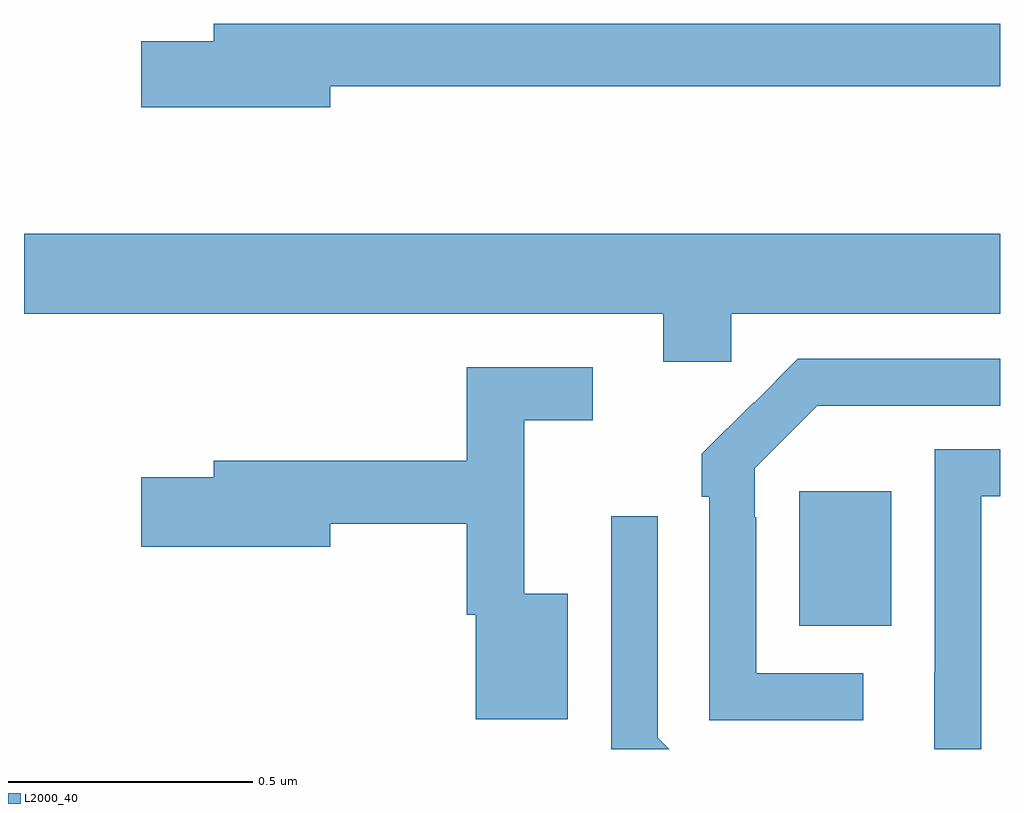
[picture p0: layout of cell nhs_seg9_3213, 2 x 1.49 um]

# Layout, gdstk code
import gdstk
lib = gdstk.Library(unit=1e-6, precision=1e-09)
def R(c, l, rs):  # rectangles x0, y0, x1, y1
    for r in rs: c.add(gdstk.rectangle(r[:2], r[2:], *l))
def P(c, l, *ps):  # polygons
    for p in ps: c.add(gdstk.Polygon(p, *l))
L2000_40 = (2000, 40)

nhs_seg9_3213 = lib.new_cell('nhs_seg9_3213')
R(nhs_seg9_3213, L2000_40, [(151.589,1223.753,151.777,1224.028)])
P(nhs_seg9_3213, L2000_40, [(150.628,1224.858),(152,1224.858),(152,1224.986),(150.389,1224.986),(150.389,1224.95),(150.24,1224.95),(150.24,1224.815),(150.628,1224.815)],
  [(151.449,1224.392),(152,1224.392),(152,1224.556),(150,1224.556),(150,1224.392),(151.31,1224.392),(151.31,1224.294),(151.449,1224.294)],
  [(151.72,1223.655),(151.5,1223.655),(151.5,1223.975),(151.497,1223.975),(151.497,1224.075),(151.626,1224.204),(152,1224.204),(152,1224.3),(151.586,1224.3),(151.495,1224.209),(151.494,1224.21),(151.389,1224.105),(151.389,1224.017),(151.404,1224.017),(151.404,1223.559),(151.72,1223.559)],
  [(151.114,1223.818),(151.025,1223.818),(151.025,1224.174),(151.165,1224.174),(151.165,1224.282),(150.907,1224.282),(150.907,1224.091),(150.389,1224.091),(150.389,1224.057),(150.24,1224.057),(150.24,1223.915),(150.628,1223.915),(150.628,1223.962),(150.907,1223.962),(150.907,1223.775),(150.926,1223.775),(150.926,1223.561),(151.114,1223.561)],
  [(151.962,1224.018),(152,1224.018),(152,1224.114),(151.866,1224.114),(151.866,1223.657),(151.865,1223.657),(151.865,1223.5),(151.962,1223.5)],
  [(151.299,1223.523),(151.299,1223.977),(151.203,1223.977),(151.203,1223.5),(151.322,1223.5)])

lib.write_gds('nhs_seg9_3213.gds')
